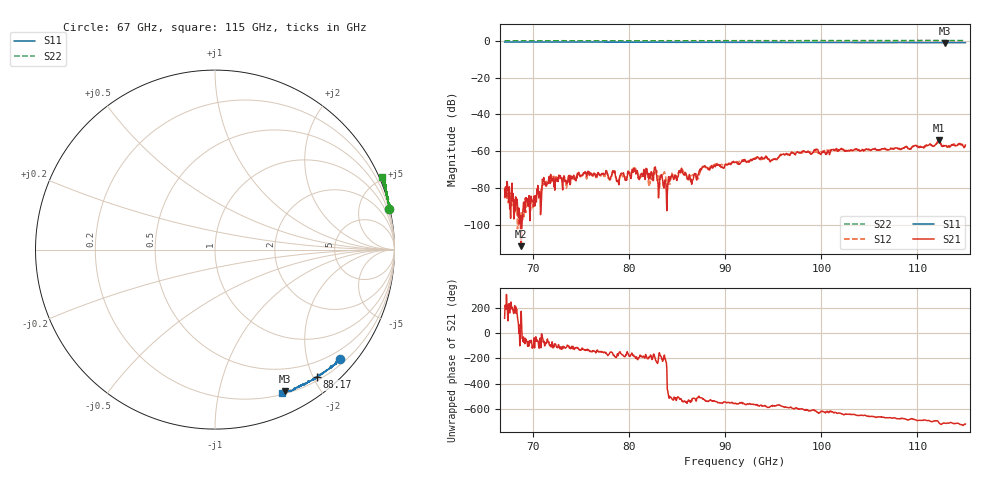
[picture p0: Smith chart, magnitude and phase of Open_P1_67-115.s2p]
!Keysight Technologies,N5247B,MY61256062,A.16.20.04
!Date: Saturday, November 01, 2025 04:01:50
!Correction: S11(C  2-Port  )
!S21(C  2-Port  )
!S12(C  2-Port  )
!S22(C  2-Port  )
!S2P File: Measurements: S11, S21, S12, S22:
# Hz S  dB  R 50
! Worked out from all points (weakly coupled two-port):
!   1001 points, 67 GHz to 115 GHz, reference 50 ohm
!   highest |S21| = -53.98 dB at 112.2 GHz (marker M1); lowest = -111.8 dB at 68.73 GHz (marker M2)
!   lowest |S11| = -1.1 dB at 112.8 GHz (marker M3), VSWR 15.76, Z = 11.3 - j79.5 ohm
!   |S11| at or under -10 dB: nowhere
!   |S22| runs from 0.0 to 0.2 dB; largest |S21 - S12| = 0.00032
!   S11 on the Smith chart (normalised r, x): 67 GHz: 0.31, -2.62; 88.17 GHz: 0.25, -2.05; 115 GHz: 0.21, -1.55
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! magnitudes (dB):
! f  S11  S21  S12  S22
! 67 GHz  -0.7  -80.9  -85.7  0.0
! 68.73 GHz  -0.7  -111.8  -93.6  0.0
! 75.02 GHz  -0.8  -73.3  -74.0  0.0
! 78.33 GHz  -0.8  -71.0  -70.4  0.0
! 78.81 GHz  -0.8  -76.0  -75.6  0.0
! 80.54 GHz  -0.8  -69.8  -69.0  0.0
! 81.16 GHz  -0.8  -72.8  -73.5  0.0
! 81.69 GHz  -0.8  -72.9  -71.7  0.1
! 82.17 GHz  -0.8  -74.8  -77.8  0.0
! 82.7 GHz  -0.8  -68.6  -71.9  0.0
! 83.03 GHz  -0.8  -85.5  -75.8  0.0
! 83.56 GHz  -0.8  -79.3  -72.2  0.0
! 84.04 GHz  -0.8  -75.6  -77.1  0.0
! 85.38 GHz  -0.9  -69.9  -70.9  0.0
! 86.39 GHz  -0.8  -76.7  -73.4  0.0
! 88.17 GHz  -0.8  -69.8  -69.2  0.0
! 91 GHz  -0.8  -66.0  -65.9  0.1
! 99.02 GHz  -0.9  -61.5  -60.4  0.1
! 107 GHz  -1.0  -59.3  -59.0  0.1
! 112.2 GHz  -1.1  -54.0  -54.5  0.2
! 112.8 GHz  -1.1  -57.3  -57.1  0.2
! 115 GHz  -1.1  -56.7  -57.3  0.1
